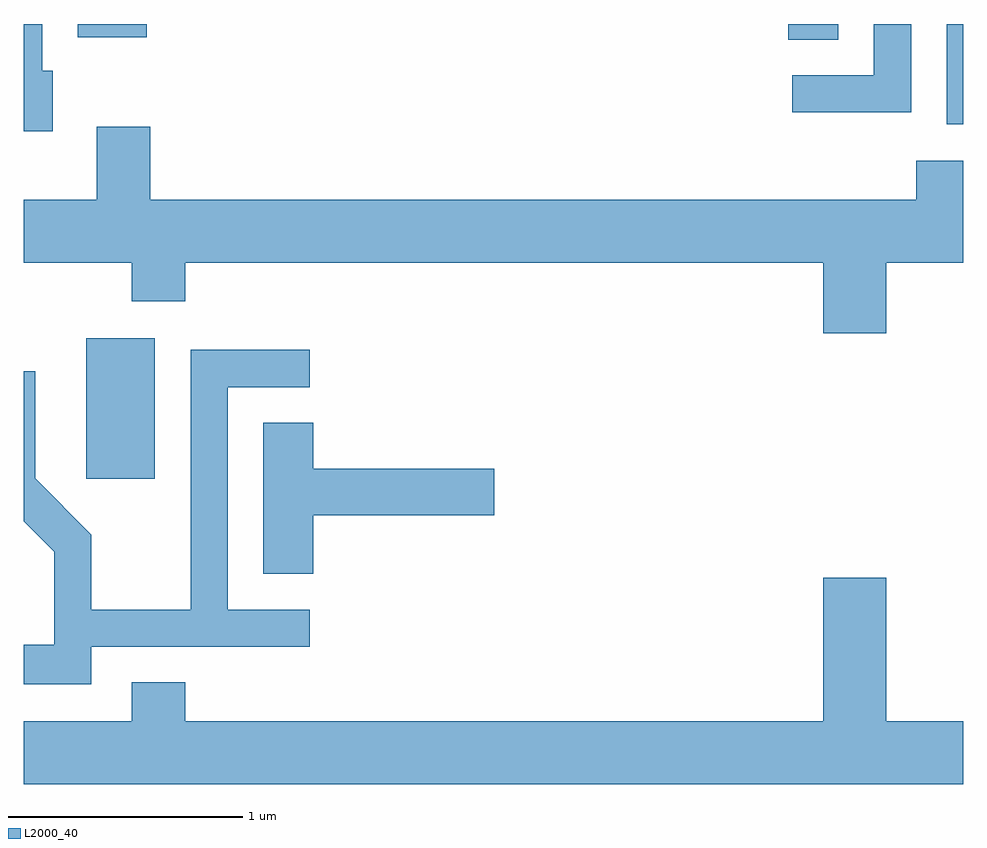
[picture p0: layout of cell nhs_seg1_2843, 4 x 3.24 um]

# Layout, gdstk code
import gdstk
lib = gdstk.Library(unit=1e-6, precision=1e-09)
def R(c, l, rs):  # rectangles x0, y0, x1, y1
    for r in rs: c.add(gdstk.rectangle(r[:2], r[2:], *l))
def P(c, l, *ps):  # polygons
    for p in ps: c.add(gdstk.Polygon(p, *l))
L2000_40 = (2000, 40)

nhs_seg1_2843 = lib.new_cell('nhs_seg1_2843')
R(nhs_seg1_2843, L2000_40, [(271.876,889.776,272.169,890.374), (275.541,891.286,275.611,891.712), (274.866,891.646,275.079,891.712), (271.841,891.656,272.134,891.712)])
P(nhs_seg1_2843, L2000_40, [(275.389,891.712),(275.231,891.712),(275.231,891.494),(274.883,891.494),(274.883,891.336),(275.389,891.336)],
  [(271.734,891.514),(271.689,891.514),(271.689,891.712),(271.611,891.712),(271.611,891.256),(271.734,891.256)],
  [(275.284,890.696),(275.611,890.696),(275.611,891.129),(275.411,891.129),(275.411,890.964),(272.149,890.964),(272.149,891.274),(271.921,891.274),(271.921,890.964),(271.611,890.964),(271.611,890.696),(272.071,890.696),(272.071,890.531),(272.299,890.531),(272.299,890.696),(275.016,890.696),(275.016,890.396),(275.284,890.396)],
  [(271.899,889.061),(272.828,889.061),(272.828,889.219),(272.479,889.219),(272.479,890.166),(272.828,890.166),(272.828,890.324),(272.321,890.324),(272.321,889.219),(271.899,889.219),(271.899,889.537),(271.659,889.777),(271.659,890.233),(271.611,890.233),(271.611,889.594),(271.741,889.464),(271.741,889.069),(271.611,889.069),(271.611,888.901),(271.899,888.901)],
  [(272.844,889.621),(273.614,889.621),(273.614,889.819),(272.844,889.819),(272.844,890.014),(272.631,890.014),(272.631,889.371),(272.844,889.371)],
  [(275.611,888.744),(275.284,888.744),(275.284,889.354),(275.016,889.354),(275.016,888.744),(272.299,888.744),(272.299,888.909),(272.071,888.909),(272.071,888.744),(271.611,888.744),(271.611,888.476),(275.611,888.476)])

lib.write_gds('nhs_seg1_2843.gds')
